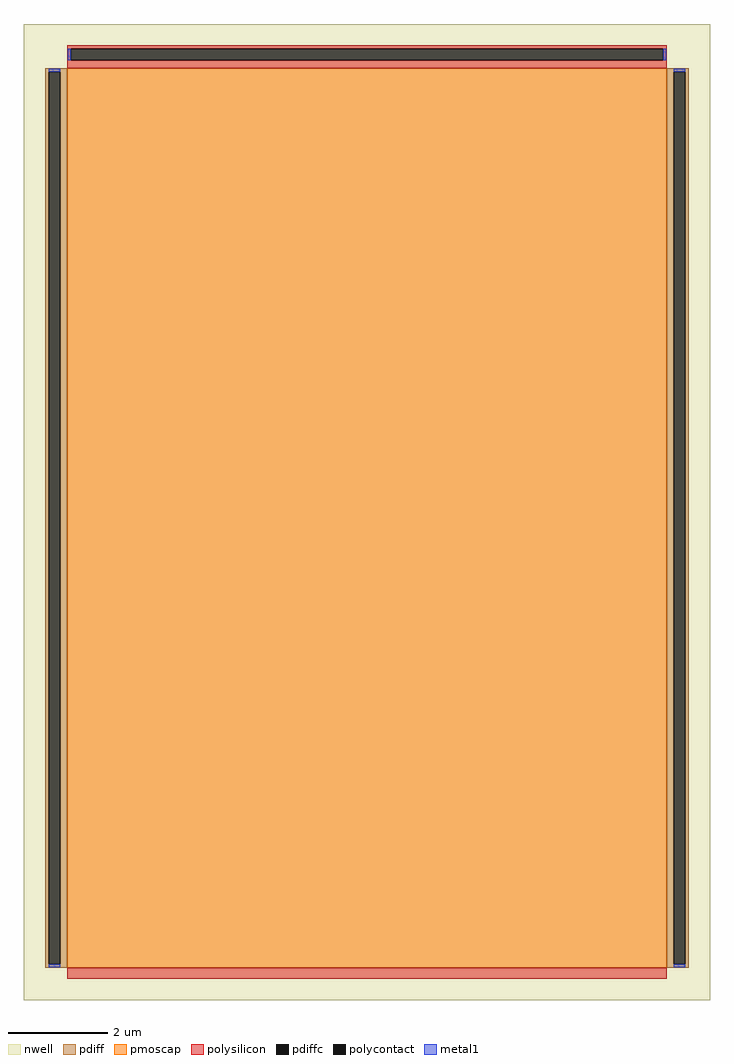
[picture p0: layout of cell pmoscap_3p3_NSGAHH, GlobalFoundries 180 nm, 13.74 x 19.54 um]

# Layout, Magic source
magic
tech gf180mcuD
magscale 1 10
<< nwell >>
rect -1374 -1954 1374 1954
<< pdiff >>
rect -1288 1763 -1200 1776
rect -1288 -1811 -1275 1763
rect -1229 -1811 -1200 1763
rect -1288 -1824 -1200 -1811
rect 1200 1763 1288 1776
rect 1200 -1811 1229 1763
rect 1275 -1811 1288 1763
rect 1200 -1824 1288 -1811
<< pdiffc >>
rect -1275 -1811 -1229 1763
rect 1229 -1811 1275 1763
<< pmoscap >>
rect -1200 -1824 1200 1776
<< polysilicon >>
rect -1200 1855 1200 1868
rect -1200 1809 -1187 1855
rect 1187 1809 1200 1855
rect -1200 1776 1200 1809
rect -1200 -1868 1200 -1824
<< polycontact >>
rect -1187 1809 1187 1855
<< metal1 >>
rect -1198 1809 -1187 1855
rect 1187 1809 1198 1855
rect -1275 1763 -1229 1774
rect -1275 -1822 -1229 -1811
rect 1229 1763 1275 1774
rect 1229 -1822 1275 -1811
<< properties >>
string gencell pmoscap_3p3
string library gf180mcu
string parameters w 18 l 12 m 1 nf 1 diffcov 100 polycov 100 guard 0 glc 0 grc 0 gtc 0 gbc 0 tbcov 100 rlcov 100 topc 1 botc 0 poverlap 0 doverlap 1 lmin 0.28 wmin 0.22 class mosfet full_metal 0 compatible {pmoscap_3p3 pmoscap_6p0}
<< end >>
